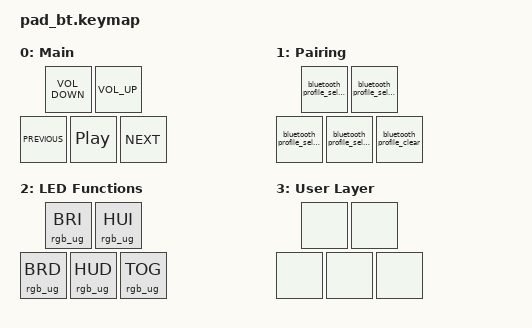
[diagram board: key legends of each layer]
#undef ZMK_BEHAVIORS_KEEP_ALL

#include <behaviors.dtsi>
#include <dt-bindings/zmk/keys.h>
#include <dt-bindings/zmk/bt.h>
#include <dt-bindings/zmk/rgb.h>

/ {
     macros {
        go_to_bluetooth_layer: go_to_bluetooth_layer {
            compatible = "zmk,behavior-macro";
            #binding-cells = <0>;
            bindings = <&macro_press &to 1>, <&macro_press &rgb_ug RGB_ON>, <&macro_press &rgb_ug RGB_COLOR_HSB(225, 100, 50)>, <&macro_press &rgb_ug RGB_EFF>; 
        };

        go_to_default_layer: go_to_default_layer {
            compatible = "zmk,behavior-macro";
            #binding-cells = <0>;
            bindings = <&macro_press &to 0>, <&macro_press &rgb_ug RGB_EFR>, <&macro_press &rgb_ug RGB_COLOR_HSB(205, 0, 25)>; 
        };

        bluetooth_profile_clear: bluetooth_profile_clear {
            compatible = "zmk,behavior-macro";
            #binding-cells = <0>;
            bindings = <&macro_press &bt BT_CLR>
            , <&macro_press &rgb_ug RGB_TOG>
            , <&macro_wait_time 100>
            , <&macro_press &rgb_ug RGB_TOG>
            ,  <&macro_wait_time 100>
            , <&macro_press &rgb_ug RGB_TOG>
            , <&macro_wait_time 100>
            , <&macro_press &rgb_ug RGB_TOG>
            , <&macro_wait_time 100>
            , <&macro_press &rgb_ug RGB_TOG>
            , <&macro_wait_time 100>
            , <&macro_press &rgb_ug RGB_TOG>
            , <&macro_wait_time 100>
            , <&macro_press &rgb_ug RGB_TOG>
            , <&macro_wait_time 100>
            , <&macro_press &rgb_ug RGB_TOG>
            , <&macro_wait_time 100>
            , <&macro_press &rgb_ug RGB_TOG>
            , <&macro_wait_time 100>
            , <&macro_press &rgb_ug RGB_TOG>; 
        };

        bluetooth_profile_select_0: bluetooth_profile_select_0 {
            compatible = "zmk,behavior-macro";
            #binding-cells = <0>;
            bindings = <&macro_press &bt BT_SEL 0>
            , <&macro_press &rgb_ug RGB_TOG>
            , <&macro_wait_time 100>
            , <&macro_press &rgb_ug RGB_TOG>
            , <&macro_wait_time 100>
            , <&macro_press &rgb_ug RGB_TOG>
            , <&macro_wait_time 100>
            , <&macro_press &rgb_ug RGB_TOG>
            , <&macro_wait_time 100>
            , <&macro_press &rgb_ug RGB_TOG>
            , <&macro_wait_time 100>
            , <&macro_press &rgb_ug RGB_TOG>; 
        };

        bluetooth_profile_select_1: bluetooth_profile_select_1 {
            compatible = "zmk,behavior-macro";
            #binding-cells = <0>;
            bindings = <&macro_press &bt BT_SEL 1>
            , <&macro_press &rgb_ug RGB_TOG>
            , <&macro_wait_time 100>
            , <&macro_press &rgb_ug RGB_TOG>
            , <&macro_wait_time 100>
            , <&macro_press &rgb_ug RGB_TOG>
            , <&macro_wait_time 100>
            , <&macro_press &rgb_ug RGB_TOG>
            , <&macro_wait_time 100>
            , <&macro_press &rgb_ug RGB_TOG>
            , <&macro_wait_time 100>
            , <&macro_press &rgb_ug RGB_TOG>; 
        };

        bluetooth_profile_select_2: bluetooth_profile_select_2 {
            compatible = "zmk,behavior-macro";
            #binding-cells = <0>;
            bindings = <&macro_press &bt BT_SEL 2>
            , <&macro_press &rgb_ug RGB_TOG>
            , <&macro_wait_time 100>
            , <&macro_press &rgb_ug RGB_TOG>
            , <&macro_wait_time 100>
            , <&macro_press &rgb_ug RGB_TOG>
            , <&macro_wait_time 100>
            , <&macro_press &rgb_ug RGB_TOG>
            , <&macro_wait_time 100>
            , <&macro_press &rgb_ug RGB_TOG>
            , <&macro_wait_time 100>
            , <&macro_press &rgb_ug RGB_TOG>; 
        };

        bluetooth_profile_select_3: bluetooth_profile_select_3 {
            compatible = "zmk,behavior-macro";
            #binding-cells = <0>;
            bindings = <&macro_press &bt BT_SEL 3>
            , <&macro_press &rgb_ug RGB_TOG>
            , <&macro_wait_time 100>
            , <&macro_press &rgb_ug RGB_TOG>
            ,  <&macro_wait_time 100>
            , <&macro_press &rgb_ug RGB_TOG>
            , <&macro_wait_time 100>
            , <&macro_press &rgb_ug RGB_TOG>
            , <&macro_wait_time 100>
            , <&macro_press &rgb_ug RGB_TOG>
            , <&macro_wait_time 100>
            , <&macro_press &rgb_ug RGB_TOG>; 
        };
    };

    combos {
        compatible = "zmk,combos";
        combo_play_pause {
            timeout-ms = <50>;
            key-positions = <0 1>;
            bindings = <&studio_unlock>;
        };

        combo_pairing {
            timeout-ms = <50>;
            key-positions = <2 3 4>;
            layers = <0>;
            bindings = <&go_to_bluetooth_layer>;
        };

        combo_exit_pairing {
            timeout-ms = <50>;
            key-positions = <2 3 4>;
            layers = <1>;
            bindings = <&go_to_default_layer>;
        };

        combo_lighting {
            timeout-ms = <50>;
            key-positions = <0 2>;
            layers = <0>;
            bindings = <&to 2>;
        };

        combo_exit_lighting {
            timeout-ms = <50>;
            key-positions = <0 2>;
            layers = <2>;
            bindings = <&to 0>;
        };

        combo_layer_2 {
            timeout-ms = <50>;
            key-positions = <1 3>;
            layers = <0>;
            bindings = <&to 3>;
        };

        combo_exit_layer_2 {
            timeout-ms = <50>;
            key-positions = <1 3>;
            layers = <3>;
            bindings = <&to 0>;
        };
    };

    behaviors {
        my_mt: bluetooth_layer {
            compatible = "zmk,behavior-hold-tap";
            label = "BLUETOOTH_LAYER";
            #binding-cells = <2>;
            flavor = "tap-preferred";
            tapping-term-ms = <2000>;
            bindings = <&go_to_bluetooth_layer>, <&kp>;
            display-name = "Hold-Tap Access Bluetooth Settings";
        };

        my_mt1: default_layer {
            compatible = "zmk,behavior-hold-tap";
            label = "DEFAULT_LAYER";
            #binding-cells = <2>;
            flavor = "tap-preferred";
            tapping-term-ms = <1000>;
            bindings = <&go_to_default_layer>, <&bluetooth_profile_select_0>;
            display-name = "Hold-Tap To Default Layer + Bluetooth 0";
        };

        my_mt2: soft_off {
            compatible = "zmk,behavior-hold-tap";
            label = "Soft Off";
            #binding-cells = <2>;
            flavor = "tap-preferred";
            tapping-term-ms = <3000>;
            bindings = <&soft_off>, <&kp>;
            display-name = "Hold-Tap Soft Off";
        };

        my_mt3: layer_select {
            compatible = "zmk,behavior-hold-tap";
            label = "Access Layer";
            #binding-cells = <2>;
            flavor = "hold-preferred";
            tapping-term-ms = <300>;
            bindings = <&mo>, <&kp>;
            display-name = "Hold-Tap Change Layer";
        };
    };

    keymap {
        compatible = "zmk,keymap";

        default_layer { // Layer 0
            display-name = "Main";
            // -------------------------------------
            //       |     Vol -/Layer 1     |     Vol +     |
            // |     Prev     |     Play     |     Next     |
            bindings = <
                &kp C_VOLUME_DOWN
                &kp C_VOLUME_UP
                &kp C_PREVIOUS
                &kp C_PLAY_PAUSE
                &kp C_NEXT
            >;
        };

        bluetooth_layer { // Layer 1
            display-name = "Pairing";
            // -------------------------------------
            //       |     BT 0     |     BT 1     |
            // |     BT 2    |     BT 3     |     BT CLR     |
            bindings = <
                &bluetooth_profile_select_0
                &bluetooth_profile_select_1
                &bluetooth_profile_select_2
                &bluetooth_profile_select_3
                &bluetooth_profile_clear
            >;
        };

        lighting_layer { // Layer 2
            display-name = "LED Functions";
            // -------------------------------------
            //       |     RGB TOG     |     Brightness Up     |
            // |     None     |     Brightness Down    |     Hue     |
            bindings = <
                &rgb_ug RGB_BRI
                &rgb_ug RGB_HUI
                &rgb_ug RGB_BRD
                &rgb_ug RGB_HUD
                &rgb_ug RGB_TOG
            >;
        };

        user_layer { // Layer 3
            display-name = "User Layer";
            // -------------------------------------
            //       |     RGB TOG     |     Brightness Up     |
            // |     None     |     Brightness Down    |     Hue     |
            bindings = <
                &none
                &none
                &none
                &none
                &none
            >;
        };
    };
 };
